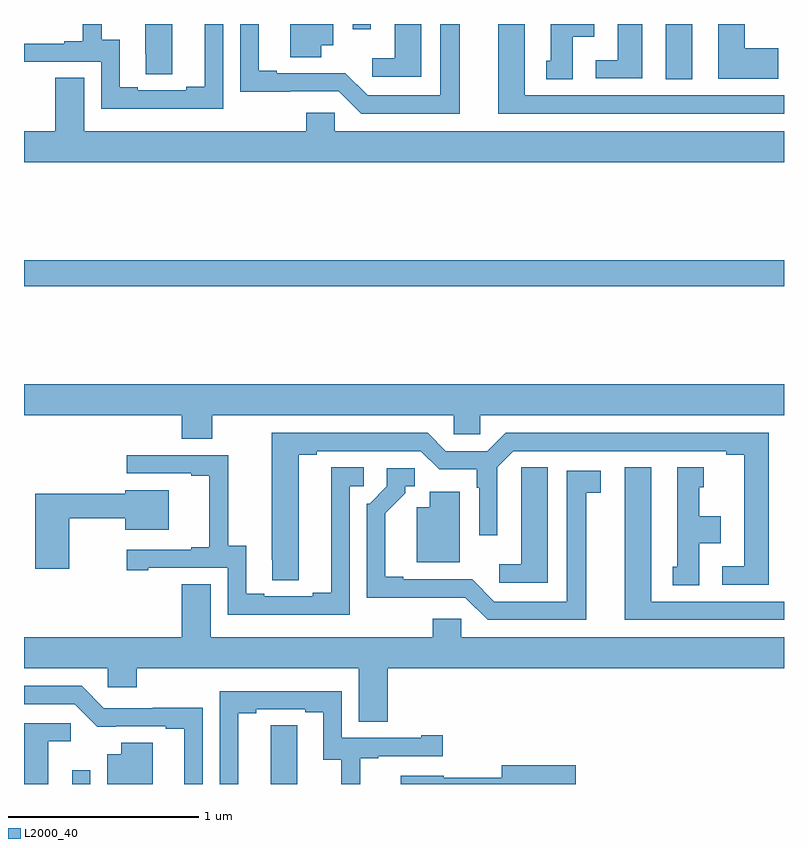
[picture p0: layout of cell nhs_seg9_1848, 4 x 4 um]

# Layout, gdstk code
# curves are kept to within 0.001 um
import gdstk
lib = gdstk.Library(unit=1e-6, precision=1e-09)
def R(c, l, rs):  # rectangles x0, y0, x1, y1
    for r in rs: c.add(gdstk.rectangle(r[:2], r[2:], *l))
def P(c, l, *ps):  # polygons
    for p in ps: c.add(gdstk.Polygon(p, *l))
L2000_40 = (2000, 40)

nhs_seg9_1848 = lib.new_cell('nhs_seg9_1848')
R(nhs_seg9_1848, L2000_40, [(215.253,1174.5,215.349,1174.573), (215,1177.12,219,1177.256), (218.378,1178.209,218.518,1178.5), (216.729,1178.472,216.825,1178.5)])
P(nhs_seg9_1848, L2000_40, [(217.09,1178.5),(216.95,1178.5),(216.95,1178.32),(216.834,1178.32),(216.834,1178.223),(217.09,1178.223)],
  [(217.294,1178.5),(217.19,1178.5),(217.19,1178.124),(216.81,1178.124),(216.692,1178.242),(216.331,1178.241),(216.331,1178.254),(216.235,1178.254),(216.235,1178.5),(216.138,1178.5),(216.138,1178.144),(216.657,1178.145),(216.774,1178.028),(217.294,1178.028)],
  [(218.971,1178.373),(218.794,1178.373),(218.794,1178.5),(218.654,1178.5),(218.654,1178.213),(218.971,1178.213)],
  [(217.888,1178.432),(218.002,1178.432),(218.002,1178.5),(217.772,1178.5),(217.772,1178.307),(217.748,1178.307),(217.748,1178.209),(217.888,1178.209)],
  [(216.048,1178.5),(215.951,1178.5),(215.951,1178.171),(215.855,1178.171),(215.855,1178.151),(215.599,1178.151),(215.599,1178.166),(215.503,1178.166),(215.503,1178.417),(215.409,1178.417),(215.409,1178.5),(215.309,1178.5),(215.309,1178.41),(215.213,1178.41),(215.213,1178.397),(215,1178.397),(215,1178.301),(215.406,1178.301),(215.406,1178.055),(216.048,1178.055)],
  [(216.565,1178.387),(216.628,1178.387),(216.628,1178.5),(216.401,1178.5),(216.401,1178.326),(216.565,1178.326)],
  [(215.779,1178.5),(215.639,1178.5),(215.639,1178.344),(215.64,1178.344),(215.64,1178.236),(215.779,1178.236)],
  [(218.254,1178.5),(218.126,1178.5),(218.126,1178.31),(218.01,1178.31),(218.01,1178.214),(218.254,1178.214)],
  [(219,1178.124),(217.636,1178.124),(217.636,1178.5),(217.496,1178.5),(217.496,1178.028),(219,1178.028)],
  [(219,1177.936),(216.636,1177.936),(216.636,1178.034),(216.485,1178.034),(216.485,1177.936),(215.317,1177.936),(215.317,1178.216),(215.165,1178.216),(215.165,1177.936),(215,1177.936),(215,1177.772),(219,1177.772)],
  [(215.991,1176.44),(217.263,1176.44),(217.263,1176.342),(217.401,1176.342),(217.401,1176.44),(219,1176.44),(219,1176.604),(215,1176.604),(215,1176.44),(215.831,1176.44),(215.831,1176.316),(215.991,1176.316)],
  [(218.92,1176.348),(217.535,1176.348),(217.439,1176.252),(217.221,1176.252),(217.125,1176.348),(216.305,1176.348),(216.306,1175.572),(216.445,1175.572),(216.445,1176.232),(216.541,1176.232),(216.541,1176.252),(217.089,1176.252),(217.185,1176.156),(217.383,1176.156),(217.383,1176.059),(217.395,1176.059),(217.395,1175.808),(217.491,1175.808),(217.491,1176.168),(217.575,1176.252),(218.696,1176.252),(218.696,1176.232),(218.792,1176.232),(218.792,1175.646),(218.676,1175.646),(218.676,1175.55),(218.92,1175.55)],
  [(216.714,1176.066),(216.787,1176.066),(216.787,1176.167),(216.617,1176.167),(216.617,1175.507),(216.521,1175.507),(216.521,1175.487),(216.265,1175.487),(216.265,1175.502),(216.169,1175.502),(216.169,1175.753),(216.075,1175.753),(216.075,1176.231),(215.541,1176.231),(215.541,1176.135),(215.879,1176.135),(215.879,1176.123),(215.975,1176.123),(215.975,1175.746),(215.879,1175.746),(215.879,1175.733),(215.541,1175.733),(215.541,1175.625),(215.653,1175.625),(215.653,1175.637),(216.072,1175.637),(216.072,1175.391),(216.714,1175.391)],
  [(217.756,1176.167),(217.617,1176.167),(217.617,1176.059),(217.616,1176.059),(217.616,1175.656),(217.5,1175.656),(217.5,1175.559),(217.756,1175.559)],
  [(219,1175.46),(218.302,1175.46),(218.302,1176.166),(218.162,1176.166),(218.162,1175.364),(219,1175.364)],
  [(218.554,1175.768),(218.668,1175.768),(218.668,1175.908),(218.554,1175.908),(218.554,1176.063),(218.578,1176.063),(218.578,1176.166),(218.438,1176.166),(218.438,1175.643),(218.414,1175.643),(218.414,1175.545),(218.554,1175.545)],
  [(217.96,1176.034),(218.035,1176.034),(218.035,1176.15),(217.856,1176.15),(217.856,1175.46),(217.476,1175.46),(217.359,1175.577),(216.997,1175.577),(216.997,1175.59),(216.901,1175.59),(216.901,1175.926),(217.006,1176.031),(217.006,1176.066),(217.057,1176.066),(217.057,1176.162),(216.909,1176.162),(216.909,1176.066),(216.819,1175.976),(216.804,1175.976),(216.804,1175.48),(217.323,1175.481),(217.44,1175.364),(217.96,1175.364)],
  [(215.238,1175.899),(215.534,1175.899),(215.534,1175.837),(215.761,1175.837),(215.761,1176.046),(215.534,1176.046),(215.534,1176.028),(215.06,1176.028),(215.06,1175.634),(215.238,1175.634)],
  [(217.294,1176.037),(217.136,1176.037),(217.136,1175.956),(217.067,1175.956),(217.067,1175.666),(217.294,1175.666)],
  [(216.914,1175.108),(219,1175.108),(219,1175.272),(217.302,1175.272),(217.302,1175.37),(217.151,1175.37),(217.151,1175.272),(215.983,1175.272),(215.983,1175.552),(215.831,1175.552),(215.831,1175.272),(215,1175.272),(215,1175.108),(215.442,1175.108),(215.442,1175.01),(215.594,1175.01),(215.594,1175.108),(216.761,1175.108),(216.761,1174.828),(216.914,1174.828)],
  [(215.94,1174.901),(215.677,1174.901),(215.677,1174.899),(215.421,1174.899),(215.304,1175.016),(215,1175.016),(215,1174.92),(215.268,1174.92),(215.386,1174.802),(215.747,1174.803),(215.747,1174.791),(215.843,1174.791),(215.843,1174.5),(215.94,1174.5)],
  [(216.127,1174.873),(216.223,1174.873),(216.223,1174.893),(216.479,1174.893),(216.479,1174.878),(216.575,1174.878),(216.575,1174.627),(216.67,1174.627),(216.67,1174.5),(216.77,1174.5),(216.77,1174.635),(216.865,1174.635),(216.865,1174.647),(217.204,1174.647),(217.204,1174.756),(217.091,1174.756),(217.091,1174.743),(216.672,1174.743),(216.672,1174.989),(216.03,1174.989),(216.03,1174.5),(216.127,1174.5)],
  [(215.128,1174.724),(215.245,1174.724),(215.245,1174.821),(215,1174.821),(215,1174.5),(215.128,1174.5)],
  [(216.439,1174.7),(216.438,1174.7),(216.438,1174.808),(216.299,1174.808),(216.299,1174.5),(216.439,1174.5)],
  [(215.677,1174.718),(215.513,1174.718),(215.513,1174.657),(215.438,1174.657),(215.438,1174.5),(215.677,1174.5)],
  [(217.903,1174.598),(217.514,1174.598),(217.514,1174.532),(217.21,1174.532),(217.21,1174.543),(216.983,1174.543),(216.983,1174.5),(217.903,1174.5)])

lib.write_gds('nhs_seg9_1848.gds')
